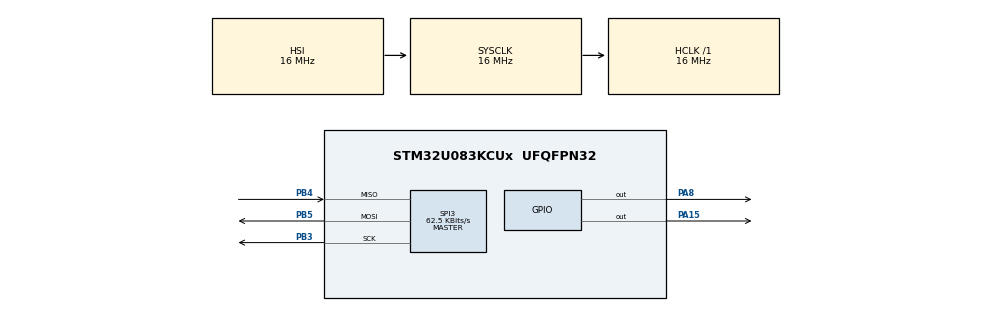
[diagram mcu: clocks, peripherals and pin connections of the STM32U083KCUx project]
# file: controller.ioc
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Mcu.Family=STM32U0
Mcu.Name=STM32U083KCUx
Mcu.Package=UFQFPN32
NVIC.PriorityGroup=NVIC_PRIORITYGROUP_2
PA15.Signal=GPIO_Output
PA8.Signal=GPIO_Output
PB3.Mode=Full_Duplex_Master
PB3.Signal=SPI3_SCK
PB4.Mode=Full_Duplex_Master
PB4.Signal=SPI3_MISO
PB5.Mode=Full_Duplex_Master
PB5.Signal=SPI3_MOSI
PC14-OSC32_IN.Signal=RCC_OSC32_IN
PC15-OSC32_OUT.Signal=RCC_OSC32_OUT
ProjectManager.HeapSize=0x200
ProjectManager.StackSize=0x400
ProjectManager.TargetToolchain=STM32CubeIDE
RCC.AHBFreq_Value=16000000
RCC.CortexFreq_Value=16000000
RCC.HCLKFreq_Value=16000000
RCC.HSE_VALUE=4000000
RCC.HSI48_VALUE=48000000
RCC.HSI_VALUE=16000000
RCC.LSE_VALUE=32768
RCC.MSI_VALUE=4000000
RCC.SYSCLKFreq_VALUE=16000000
RCC.VCOOutputFreq_Value=64000000
SPI3.BaudRatePrescaler=SPI_BAUDRATEPRESCALER_256
SPI3.CalculateBaudRate=62.5 KBits/s
SPI3.DataSize=SPI_DATASIZE_8BIT
SPI3.Direction=SPI_DIRECTION_2LINES
SPI3.Mode=SPI_MODE_MASTER
SPI3.VirtualType=VM_MASTER
VP_PWR_VS_SECSignals.Mode=Security/Privilege
board=custom

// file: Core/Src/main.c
/* USER CODE BEGIN Header */
/**
  ******************************************************************************
  * @file           : main.c
  * @brief          : Main program body
  ******************************************************************************
  * @attention
  *
  * Copyright (c) 2024 STMicroelectronics.
  * All rights reserved.
  *
  * This software is licensed under terms that can be found in the LICENSE file
  * in the root directory of this software component.
  * If no LICENSE file comes with this software, it is provided AS-IS.
  *
  ******************************************************************************
  */
/* USER CODE END Header */
#include "main.h"

SPI_HandleTypeDef hspi3;

/* USER CODE BEGIN PV */

/* Buffer used for transmission */
// Command to enter daisy-chain mode
const char cmd0 = (char)(0b00100101);
const char cmd1 = (char)(0b00000000);

/* Switches states: swX=[7..0] */
// Default values
const char sw1 = (char)(0b00000000);
const char sw2 = (char)(0b00000000);
const char sw3 = (char)(0b11111111);
const char sw4 = (char)(0b11111111);
const char sw5 = (char)(0b11111111);
const char sw6 = (char)(0b11111111);
const char sw7 = (char)(0b00000000);
const char sw8 = (char)(0b00000000);

/* Buffer used for transmission */
uint8_t aTxBuffer[20];

#define BUFFERSIZECMD 2
#define BUFFERSIZEDATA 8

/* Buffer used for reception */
uint8_t aRxBuffer[20];

/* USER CODE END PV */

void SystemClock_Config(void);
static void MX_GPIO_Init(void);
static void MX_SPI3_Init(void);
/* USER CODE BEGIN PFP */

void SPI_TX(SPI_HandleTypeDef hspi, uint8_t *pData, uint16_t Size);

/* USER CODE END PFP */

int main(void)
{

  /* MCU Configuration--------------------------------------------------------*/

  /* Reset of all peripherals, Initializes the Flash interface and the Systick. */
  HAL_Init();

  /* Configure the system clock */
  SystemClock_Config();

  /* Initialize all configured peripherals */
  MX_GPIO_Init();
  MX_SPI3_Init();

  /* USER CODE BEGIN 2 */

  /* Turn On LED*/
  HAL_GPIO_WritePin(GPIOA, GPIO_PIN_8, GPIO_PIN_RESET);

  /* Set NSS (CSb) to High */
  HAL_GPIO_WritePin(GPIOA, GPIO_PIN_15, GPIO_PIN_SET);

  HAL_Delay(1000);

  // Daisy-Chain Command
  // -------------------------------------------------------------------------------
  // TX order (First to Last): cmd0,cmd1
  aTxBuffer[0] = cmd0;
  aTxBuffer[1] = cmd1;

  SPI_TX(hspi3, aTxBuffer, BUFFERSIZECMD);

  // Switch-Data Command
  // -------------------------------------------------------------------------------
  // Switches states: swX=[7..0]
  aTxBuffer[0] = sw1;
  aTxBuffer[1] = sw2;
  aTxBuffer[2] = sw3;
  aTxBuffer[3] = sw4;
  aTxBuffer[4] = sw5;
  aTxBuffer[5] = sw6;
  aTxBuffer[6] = sw7;
  aTxBuffer[7] = sw8;

  SPI_TX(hspi3, aTxBuffer, BUFFERSIZEDATA);

  /* USER CODE END 2 */

  /* Infinite loop */
  while (1)
  {

    /* USER CODE BEGIN 3 */
		/* Toggle LED every half-second*/
		HAL_Delay(500);
		HAL_GPIO_TogglePin(GPIOA, GPIO_PIN_8);

		/* Toggle LED every half-second*/
		HAL_Delay(500);
		HAL_GPIO_TogglePin(GPIOA, GPIO_PIN_8);

  }
  /* USER CODE END 3 */
}

void SystemClock_Config(void)
{
  RCC_OscInitTypeDef RCC_OscInitStruct = {0};
  RCC_ClkInitTypeDef RCC_ClkInitStruct = {0};

  /** Configure the main internal regulator output voltage
  */
  HAL_PWREx_ControlVoltageScaling(PWR_REGULATOR_VOLTAGE_SCALE2);

  /** Initializes the RCC Oscillators according to the specified parameters
  * in the RCC_OscInitTypeDef structure.
  */
  RCC_OscInitStruct.OscillatorType = RCC_OSCILLATORTYPE_HSI;
  RCC_OscInitStruct.HSIState = RCC_HSI_ON;
  RCC_OscInitStruct.HSICalibrationValue = RCC_HSICALIBRATION_DEFAULT;
  RCC_OscInitStruct.PLL.PLLState = RCC_PLL_NONE;
  if (HAL_RCC_OscConfig(&RCC_OscInitStruct) != HAL_OK)
  {
    Error_Handler();
  }

  /** Initializes the CPU, AHB and APB buses clocks
  */
  RCC_ClkInitStruct.ClockType = RCC_CLOCKTYPE_HCLK|RCC_CLOCKTYPE_SYSCLK
                              |RCC_CLOCKTYPE_PCLK1;
  RCC_ClkInitStruct.SYSCLKSource = RCC_SYSCLKSOURCE_HSI;
  RCC_ClkInitStruct.AHBCLKDivider = RCC_SYSCLK_DIV1;
  RCC_ClkInitStruct.APB1CLKDivider = RCC_HCLK_DIV1;

  if (HAL_RCC_ClockConfig(&RCC_ClkInitStruct, FLASH_LATENCY_1) != HAL_OK)
  {
    Error_Handler();
  }
}

static void MX_SPI3_Init(void)
{

  /* SPI3 parameter configuration*/
  hspi3.Instance = SPI3;
  hspi3.Init.Mode = SPI_MODE_MASTER;
  hspi3.Init.Direction = SPI_DIRECTION_2LINES;
  hspi3.Init.DataSize = SPI_DATASIZE_8BIT;
  hspi3.Init.CLKPolarity = SPI_POLARITY_LOW;
  hspi3.Init.CLKPhase = SPI_PHASE_1EDGE;
  hspi3.Init.NSS = SPI_NSS_SOFT;
  hspi3.Init.BaudRatePrescaler = SPI_BAUDRATEPRESCALER_256;
  hspi3.Init.FirstBit = SPI_FIRSTBIT_MSB;
  hspi3.Init.TIMode = SPI_TIMODE_DISABLE;
  hspi3.Init.CRCCalculation = SPI_CRCCALCULATION_DISABLE;
  hspi3.Init.CRCPolynomial = 7;
  hspi3.Init.CRCLength = SPI_CRC_LENGTH_DATASIZE;
  hspi3.Init.NSSPMode = SPI_NSS_PULSE_ENABLE;
  if (HAL_SPI_Init(&hspi3) != HAL_OK)
  {
    Error_Handler();
  }

}

static void MX_GPIO_Init(void)
{
  GPIO_InitTypeDef GPIO_InitStruct = {0};

  /* GPIO Ports Clock Enable */
  __HAL_RCC_GPIOC_CLK_ENABLE();
  __HAL_RCC_GPIOA_CLK_ENABLE();
  __HAL_RCC_GPIOB_CLK_ENABLE();

  /*Configure GPIO pin Output Level */
  HAL_GPIO_WritePin(GPIOA, GPIO_PIN_8|GPIO_PIN_15, GPIO_PIN_RESET);

  /*Configure GPIO pins : PA8 PA15 */
  GPIO_InitStruct.Pin = GPIO_PIN_8|GPIO_PIN_15;
  GPIO_InitStruct.Mode = GPIO_MODE_OUTPUT_PP;
  GPIO_InitStruct.Pull = GPIO_NOPULL;
  GPIO_InitStruct.Speed = GPIO_SPEED_FREQ_LOW;
  HAL_GPIO_Init(GPIOA, &GPIO_InitStruct);

}

/* USER CODE BEGIN 4 */
void SPI_TX(SPI_HandleTypeDef hspi, uint8_t *pData, uint16_t Size)
{
	/*##-1- Start the Full Duplex Communication process ########################*/
	/* While the SPI in Transmit process, user can transmit data through "aTxBuffer" buffer */
	/* Timeout is set to 5S */

	/* Set NSS (CSb) to Low */
	HAL_GPIO_WritePin(GPIOA, GPIO_PIN_15, GPIO_PIN_RESET);

	switch (HAL_SPI_Transmit(&hspi, pData, Size, 5000))
	{
	case HAL_OK:
		/* Communication is completed ___________________________________________ */
		/* Set NSS (CSb) to High */
		HAL_GPIO_WritePin(GPIOA, GPIO_PIN_15, GPIO_PIN_SET);

		break;

	case HAL_TIMEOUT:
		/* An Error Occur ______________________________________________________ */
	case HAL_ERROR:
		/* Call Timeout Handler */
		Error_Handler();
		break;
	default:
		break;
	}
}
/* USER CODE END 4 */

void Error_Handler(void)
{
  __disable_irq();
  while (1)
  {
  }
}
